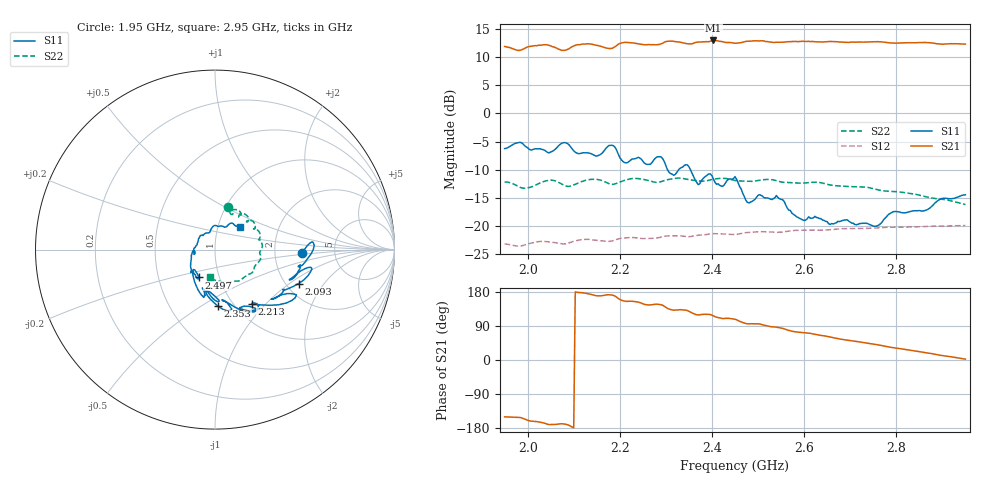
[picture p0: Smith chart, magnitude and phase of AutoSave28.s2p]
!Agilent N9923A: A.07.32
!Date: Wednesday, 01 June 2016 23:54:57
!Model: N9923A
!Serial: MY52412257
!GPS Latitude:
!GPS Longitude:
!GPS TimeStamp: 0001-01-01 00:00:00Z
!GPS Seconds Since Last Read: 0
!CHECKSUM:0138795874
!Correction: S11(ON U)S21(ON U)S12(ON U)S22(ON U)
!S2P File: Measurements:S11,S21,S12,S22:
# Hz S DB R 50
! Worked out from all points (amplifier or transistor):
!   301 points, 1.95 GHz to 2.95 GHz, reference 50 ohm
!   highest |S21| = 13.0 dB at 2.403 GHz (marker M1)
!   |S21| within 3 dB of that: start of sweep to end of sweep
!   unconditionally stable (mu >= 1): start of sweep to end of sweep
!   at 2.117 GHz: K = 1.32, MAG = 14.0 dB, |S12| = -22.5 dB
!   at 2.45 GHz: K = 1.37, MAG = 13.4 dB, |S12| = -21.5 dB
!   at 2.95 GHz: K = 1.32, MAG = 12.7 dB, |S12| = -19.9 dB
!   S11 on the Smith chart (normalised r, x): 1.95 GHz: 2.89, -0.16; 2.093 GHz: 2.33, -1.18; 2.213 GHz: 1.20, -0.83; 2.353 GHz: 0.84, -0.59; 2.497 GHz: 0.80, -0.25; 2.95 GHz: 1.28, +0.33
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1.95e9  -6.26 -2.5  11.89 -150.0  -23.20 173.4  -12.21 73.2
1.983333e9  -5.14 2.4  11.20 -151.7  -23.60 169.1  -13.13 63.4
2.04e9  -6.75 -21.0  12.19 -168.3  -22.78 158.1  -11.99 62.4
2.073333e9  -5.34 -10.5  11.19 -168.2  -23.18 152.3  -12.54 52.5
2.093333e9  -5.97 -22.1  11.69 -174.8  -22.91 151.7  -12.91 54.2
2.12e9  -7.00 -29.9  12.32 177.2  -22.42 145.9  -12.03 53.9
2.15e9  -7.60 -41.5  12.09 169.4  -22.57 138.9  -11.73 44.8
2.183333e9  -5.66 -30.9  11.56 171.4  -22.66 135.4  -12.61 41.2
2.213333e9  -8.79 -55.9  12.61 154.8  -22.11 129.4  -11.83 39.5
2.256667e9  -9.01 -67.1  12.18 146.0  -22.23 121.4  -11.83 28.8
2.286667e9  -7.71 -56.1  12.26 146.4  -22.04 117.9  -12.20 28.3
2.31e9  -10.70 -79.9  12.83 133.2  -21.74 112.3  -11.68 24.6
2.353333e9  -10.02 -87.0  12.36 126.2  -21.89 104.9  -11.82 14.1
2.403333e9  -11.68 -95.1  12.95 116.3  -21.37 96.3  -11.68 10.1
2.423333e9  -12.95 -108.3  12.73 109.3  -21.42 91.8  -11.55 5.4
2.453333e9  -11.72 -108.1  12.48 106.1  -21.50 87.5  -11.98 -2.2
2.473333e9  -15.41 -136.3  12.77 96.3  -21.19 84.3  -12.05 -3.8
2.496667e9  -14.91 -120.5  12.88 95.5  -21.06 79.9  -11.97 -5.6
2.576667e9  -17.94 -173.3  12.78 75.2  -20.81 65.6  -12.34 -21.9
2.62e9  -18.58 -174.1  12.75 68.7  -20.75 57.1  -12.24 -29.0
2.783333e9  -17.95 96.6  12.56 34.6  -20.24 27.8  -13.84 -61.9
2.95e9  -14.46 41.5  12.30 2.3  -19.93 -2.9  -16.20 -101.4
